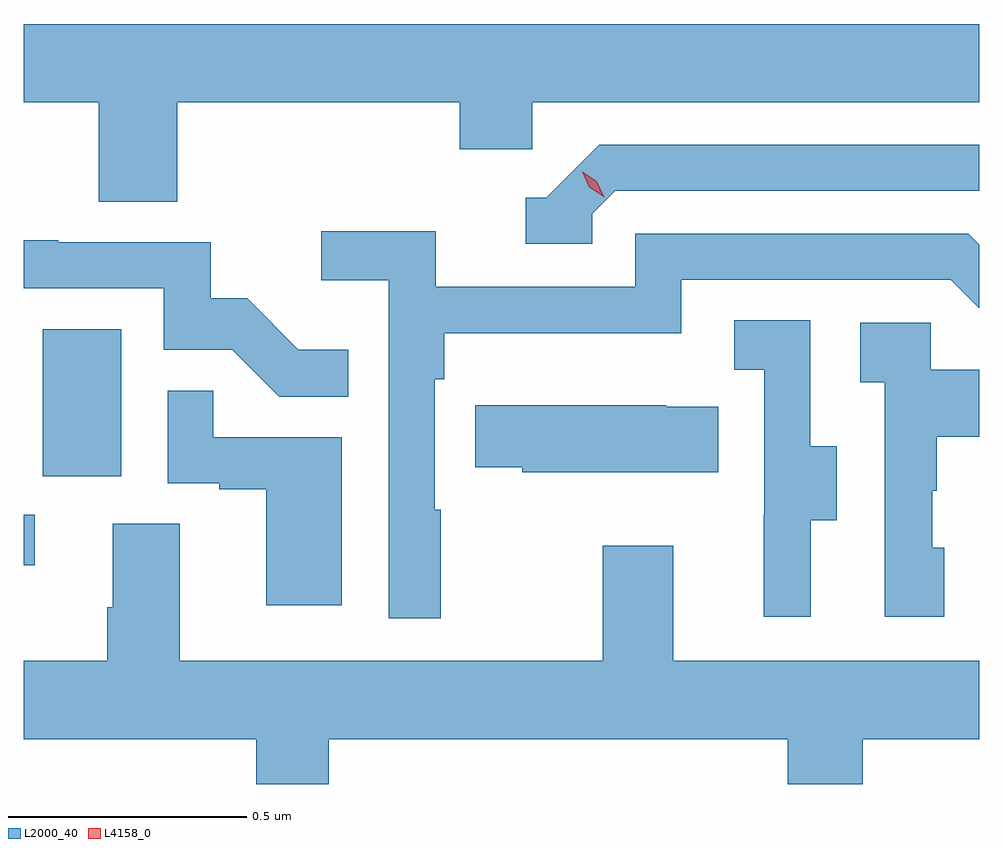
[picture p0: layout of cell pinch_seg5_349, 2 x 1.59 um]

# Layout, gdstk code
import gdstk
lib = gdstk.Library(unit=1e-6, precision=1e-09)
def R(c, l, rs):  # rectangles x0, y0, x1, y1
    for r in rs: c.add(gdstk.rectangle(r[:2], r[2:], *l))
def P(c, l, *ps):  # polygons
    for p in ps: c.add(gdstk.Polygon(p, *l))
L2000_40 = (2000, 40)
L4158_0 = (4158, 0)

pinch_seg5_349 = lib.new_cell('pinch_seg5_349')
R(pinch_seg5_349, L2000_40, [(985.57,875.772,985.594,875.877), (985.61,875.958,985.774,876.265)])
P(pinch_seg5_349, L2000_40, [(985.892,876.74),(986.483,876.74),(986.483,876.642),(986.634,876.642),(986.634,876.74),(987.57,876.74),(987.57,876.904),(985.57,876.904),(985.57,876.74),(985.727,876.74),(985.727,876.532),(985.892,876.532)],
  [(986.76,876.507),(986.808,876.555),(987.57,876.555),(987.57,876.651),(986.775,876.651),(986.664,876.54),(986.621,876.54),(986.621,876.444),(986.76,876.444)],
  [(986.443,875.888),(986.43,875.888),(986.43,876.161),(986.45,876.161),(986.45,876.257),(986.946,876.257),(986.946,876.369),(987.51,876.369),(987.57,876.309),(987.57,876.442),(987.547,876.465),(986.85,876.465),(986.85,876.354),(986.432,876.354),(986.432,876.47),(986.193,876.47),(986.193,876.368),(986.334,876.368),(986.334,875.661),(986.443,875.661)],
  [(986.249,876.223),(986.145,876.223),(986.038,876.33),(985.962,876.33),(985.962,876.447),(985.643,876.447),(985.643,876.452),(985.57,876.452),(985.57,876.351),(985.863,876.351),(985.863,876.222),(986.007,876.222),(986.105,876.124),(986.249,876.124)],
  [(987.217,875.866),(987.271,875.866),(987.271,876.021),(987.216,876.021),(987.216,876.284),(987.057,876.284),(987.057,876.181),(987.12,876.181),(987.12,875.877),(987.119,875.877),(987.119,875.664),(987.217,875.664)],
  [(987.496,875.808),(987.471,875.808),(987.471,875.927),(987.481,875.927),(987.481,876.041),(987.57,876.041),(987.57,876.181),(987.468,876.181),(987.468,876.279),(987.321,876.279),(987.321,876.155),(987.372,876.155),(987.372,875.664),(987.496,875.664)],
  [(986.236,876.039),(985.967,876.039),(985.967,876.137),(985.872,876.137),(985.872,875.943),(985.979,875.943),(985.979,875.931),(986.078,875.931),(986.078,875.688),(986.236,875.688)],
  [(987.023,876.103),(986.915,876.103),(986.915,876.106),(986.515,876.106),(986.515,875.977),(986.613,875.977),(986.613,875.966),(987.023,875.966)],
  [(986.209,875.408),(987.169,875.408),(987.169,875.314),(987.326,875.314),(987.326,875.408),(987.57,875.408),(987.57,875.572),(986.929,875.572),(986.929,875.812),(986.782,875.812),(986.782,875.572),(985.897,875.572),(985.897,875.858),(985.757,875.858),(985.757,875.684),(985.745,875.684),(985.745,875.572),(985.57,875.572),(985.57,875.408),(986.057,875.408),(986.057,875.314),(986.209,875.314)])
P(pinch_seg5_349, L4158_0, [(986.785,876.542),(986.754,876.562),(986.739,876.595),(986.739,876.595),(986.739,876.595),(986.769,876.575),(986.785,876.542),(986.785,876.542)])

lib.write_gds('pinch_seg5_349.gds')
